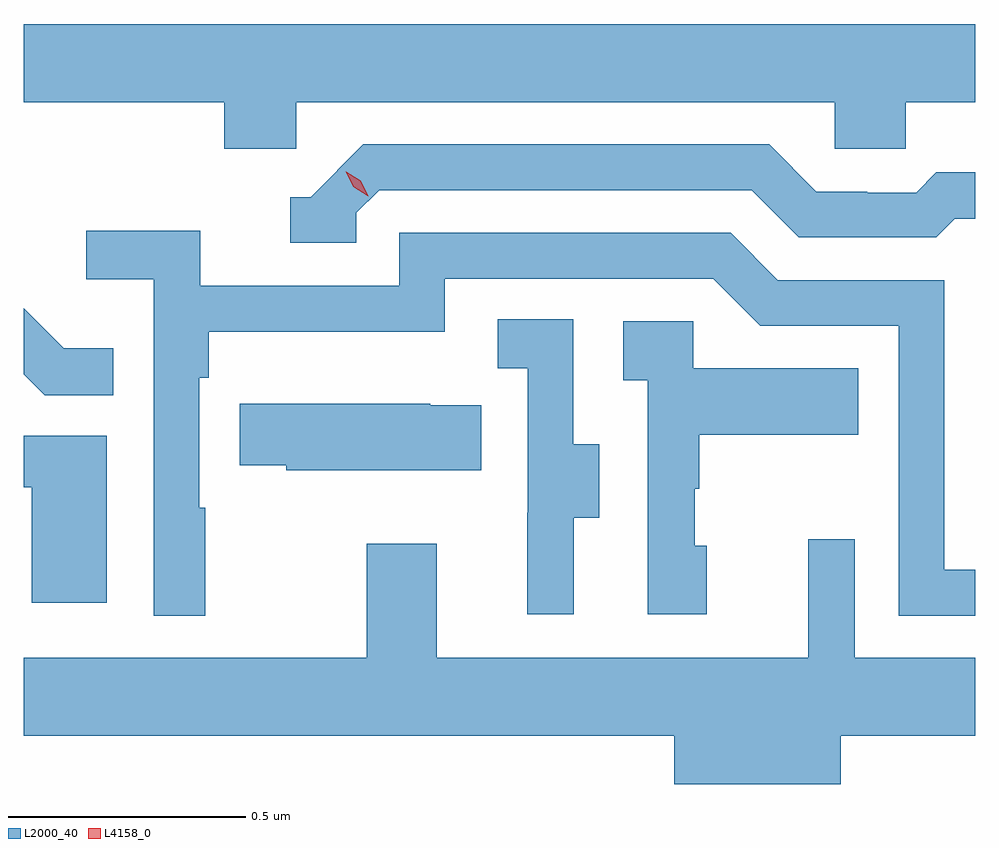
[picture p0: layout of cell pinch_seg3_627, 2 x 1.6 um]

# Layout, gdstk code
import gdstk
lib = gdstk.Library(unit=1e-6, precision=1e-09)
def P(c, l, *ps):  # polygons
    for p in ps: c.add(gdstk.Polygon(p, *l))
L2000_40 = (2000, 40)
L4158_0 = (4158, 0)

pinch_seg3_627 = lib.new_cell('pinch_seg3_627')
P(pinch_seg3_627, L2000_40, [(1072.548,668.948),(1073.679,668.948),(1073.679,668.85),(1073.829,668.85),(1073.829,668.948),(1073.975,668.948),(1073.975,669.112),(1071.975,669.112),(1071.975,668.948),(1072.397,668.948),(1072.397,668.85),(1072.548,668.85)],
  [(1072.674,668.715),(1072.722,668.763),(1073.505,668.763),(1073.604,668.664),(1073.893,668.664),(1073.932,668.703),(1073.975,668.703),(1073.975,668.8),(1073.893,668.8),(1073.851,668.757),(1073.748,668.757),(1073.748,668.76),(1073.641,668.76),(1073.542,668.859),(1072.689,668.859),(1072.578,668.748),(1072.535,668.748),(1072.535,668.652),(1072.674,668.652)],
  [(1072.357,668.096),(1072.344,668.096),(1072.344,668.369),(1072.364,668.369),(1072.364,668.465),(1072.86,668.465),(1072.86,668.577),(1073.424,668.577),(1073.523,668.478),(1073.814,668.478),(1073.814,667.869),(1073.975,667.869),(1073.975,667.965),(1073.91,667.965),(1073.91,668.574),(1073.56,668.574),(1073.461,668.673),(1072.764,668.673),(1072.764,668.562),(1072.346,668.562),(1072.346,668.678),(1072.107,668.678),(1072.107,668.576),(1072.248,668.576),(1072.248,667.869),(1072.357,667.869)],
  [(1072.163,668.431),(1072.059,668.431),(1071.975,668.515),(1071.975,668.376),(1072.019,668.332),(1072.163,668.332)],
  [(1073.131,668.074),(1073.185,668.074),(1073.185,668.229),(1073.13,668.229),(1073.13,668.492),(1072.971,668.492),(1072.971,668.389),(1073.034,668.389),(1073.034,668.085),(1073.033,668.085),(1073.033,667.872),(1073.131,667.872)],
  [(1073.41,668.016),(1073.385,668.016),(1073.385,668.135),(1073.395,668.135),(1073.395,668.249),(1073.729,668.249),(1073.729,668.389),(1073.382,668.389),(1073.382,668.487),(1073.235,668.487),(1073.235,668.363),(1073.286,668.363),(1073.286,667.872),(1073.41,667.872)],
  [(1072.937,668.311),(1072.829,668.311),(1072.829,668.314),(1072.429,668.314),(1072.429,668.185),(1072.527,668.185),(1072.527,668.174),(1072.937,668.174)],
  [(1072.15,668.247),(1071.975,668.247),(1071.975,668.139),(1071.992,668.139),(1071.992,667.896),(1072.15,667.896)],
  [(1073.692,667.616),(1073.975,667.616),(1073.975,667.78),(1073.721,667.78),(1073.721,668.029),(1073.624,668.029),(1073.624,667.78),(1072.843,667.78),(1072.843,668.02),(1072.696,668.02),(1072.696,667.78),(1071.975,667.78),(1071.975,667.616),(1073.342,667.616),(1073.342,667.515),(1073.692,667.515)])
P(pinch_seg3_627, L4158_0, [(1072.699,668.75),(1072.668,668.77),(1072.652,668.802),(1072.652,668.802),(1072.653,668.802),(1072.683,668.783),(1072.699,668.75),(1072.699,668.75)])

lib.write_gds('pinch_seg3_627.gds')
